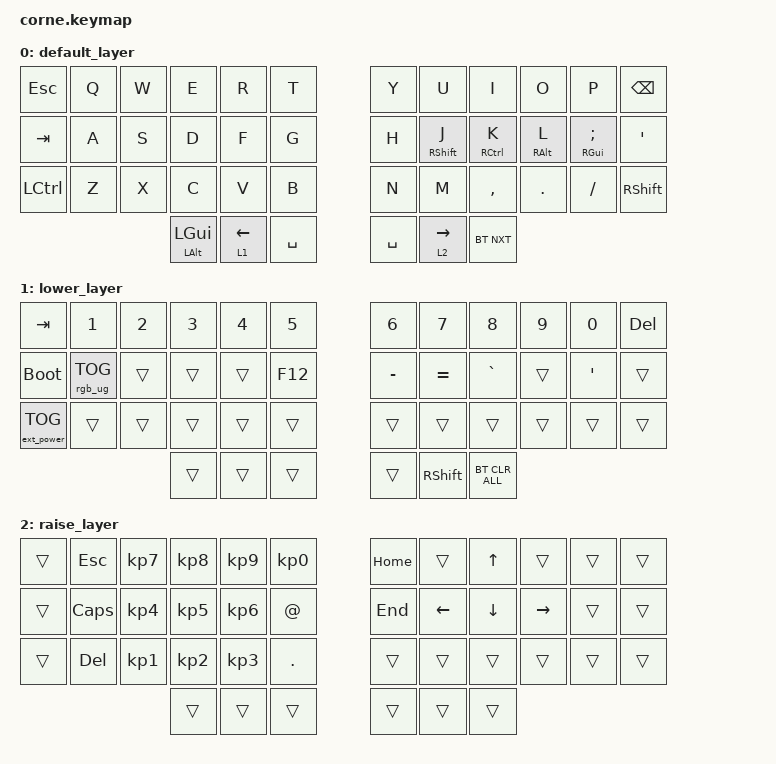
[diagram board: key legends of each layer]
/*
 * Copyright (c) 2020 The ZMK Contributors
 *
 * SPDX-License-Identifier: MIT
 */

#include <behaviors.dtsi>
#include <dt-bindings/zmk/bt.h>
#include <dt-bindings/zmk/ext_power.h>
#include <dt-bindings/zmk/keys.h>
#include <dt-bindings/zmk/rgb.h>

/ {
    behaviors {
        hm: homerow_mods {
            compatible = "zmk,behavior-hold-tap";
            label = "HOMEROW_MODS";
            #binding-cells = <2>;
            tapping-term-ms = <200>;
            quick_tap_ms = <0>;
            flavor = "tap-preferred";
            bindings = <&kp>, <&kp>;

            quick-tap-ms = <180>;
            global-quick-tap;
        };

        ltq: ltq {
            compatible = "zmk,behavior-hold-tap";
            label = "LTQ";
            bindings = <&mo>, <&kp>;

            #binding-cells = <2>;
            tapping-term-ms = <600>;
            global-quick-tap;
            quick-tap-ms = <400>;
        };
    };

    combos { compatible = "zmk,combos"; };

    keymap {
        compatible = "zmk,keymap";

        default_layer {
            bindings = <
&kp ESCAPE  &kp Q  &kp W  &kp E                  &kp R       &kp T      &kp Y      &kp U         &kp I        &kp O            &kp P               &kp BSPC
&kp TAB     &kp A  &kp S  &kp D                  &kp F       &kp G      &kp H      &hm RSHIFT J  &hm RCTRL K  &hm RIGHT_ALT L  &hm RGUI SEMICOLON  &kp SQT
&kp LCTRL   &kp Z  &kp X  &kp C                  &kp V       &kp B      &kp N      &kp M         &kp COMMA    &kp DOT          &kp FSLH            &kp RIGHT_SHIFT
                          &mt LEFT_ALT LEFT_GUI  &lt 1 LEFT  &kp SPACE  &kp SPACE  &lt 2 RIGHT   &bt BT_NXT
            >;
        };

        lower_layer {
            bindings = <
&kp TAB            &kp N1           &kp N2  &kp N3  &kp N4  &kp N5   &kp N6     &kp N7           &kp N8          &kp N9  &kp N0   &kp DELETE
&bootloader        &rgb_ug RGB_TOG  &trans  &trans  &trans  &kp F12  &kp MINUS  &kp EQUAL        &kp GRAVE       &trans  &kp SQT  &trans
&ext_power EP_TOG  &trans           &trans  &trans  &trans  &trans   &trans     &trans           &trans          &trans  &trans   &trans
                                            &trans  &trans  &trans   &trans     &kp RIGHT_SHIFT  &bt BT_CLR_ALL
            >;
        };

        raise_layer {
            bindings = <
&trans  &kp ESC     &kp KP_NUMBER_7  &kp KP_NUMBER_8  &kp KP_NUMBER_9  &kp KP_NUMBER_0  &kp HOME  &trans    &kp UP    &trans     &trans  &trans
&trans  &kp CAPS    &kp KP_NUMBER_4  &kp KP_NUMBER_5  &kp KP_NUMBER_6  &kp AT           &kp END   &kp LEFT  &kp DOWN  &kp RIGHT  &trans  &trans
&trans  &kp DELETE  &kp KP_NUMBER_1  &kp KP_NUMBER_2  &kp KP_NUMBER_3  &kp DOT          &trans    &trans    &trans    &trans     &trans  &trans
                                     &trans           &trans           &trans           &trans    &trans    &trans
            >;
        };

        extra1 { status = "reserved"; };

        extra2 { status = "reserved"; };

        extra3 { status = "reserved"; };

        extra4 { status = "reserved"; };
    };
};
